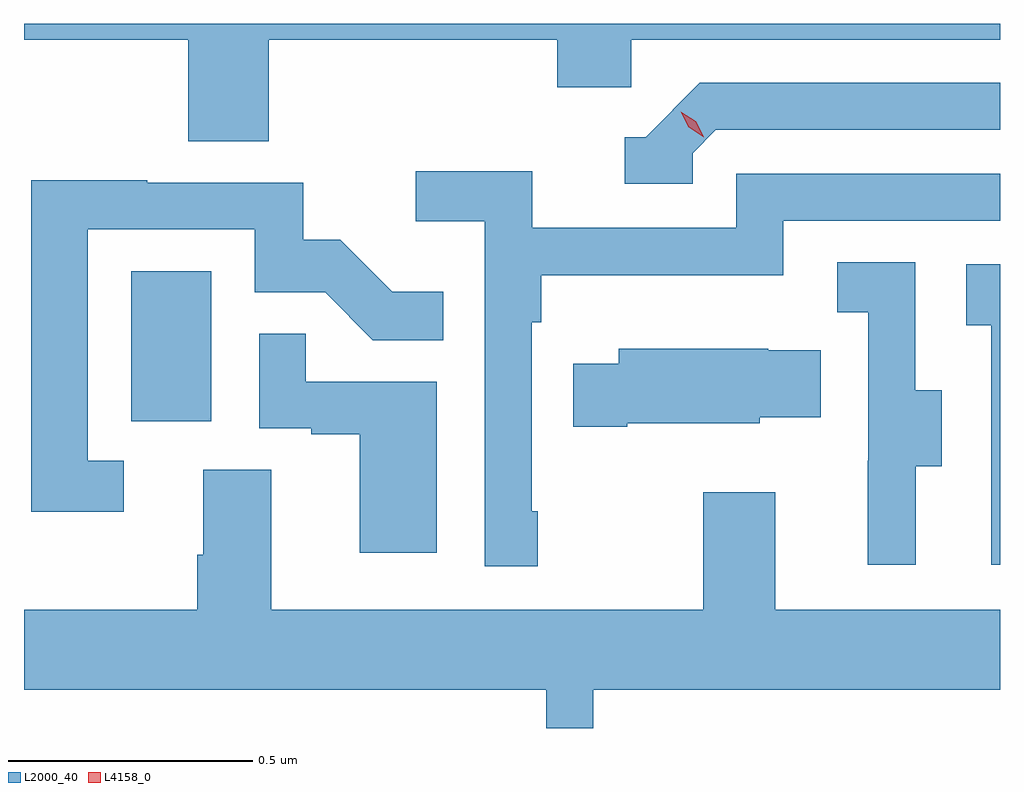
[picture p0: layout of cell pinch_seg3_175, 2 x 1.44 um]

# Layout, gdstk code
import gdstk
lib = gdstk.Library(unit=1e-6, precision=1e-09)
def R(c, l, rs):  # rectangles x0, y0, x1, y1
    for r in rs: c.add(gdstk.rectangle(r[:2], r[2:], *l))
def P(c, l, *ps):  # polygons
    for p in ps: c.add(gdstk.Polygon(p, *l))
L2000_40 = (2000, 40)
L4158_0 = (4158, 0)

pinch_seg3_175 = lib.new_cell('pinch_seg3_175')
R(pinch_seg3_175, L2000_40, [(984.278,748.086,984.442,748.393)])
P(pinch_seg3_175, L2000_40, [(984.56,748.868),(985.151,748.868),(985.151,748.77),(985.302,748.77),(985.302,748.868),(986.058,748.868),(986.058,748.9),(984.058,748.9),(984.058,748.868),(984.395,748.868),(984.395,748.66),(984.56,748.66)],
  [(985.428,748.635),(985.476,748.683),(986.058,748.683),(986.058,748.779),(985.443,748.779),(985.332,748.668),(985.289,748.668),(985.289,748.572),(985.428,748.572)],
  [(985.111,747.901),(985.098,747.901),(985.098,748.289),(985.118,748.289),(985.118,748.385),(985.614,748.385),(985.614,748.497),(986.058,748.497),(986.058,748.593),(985.518,748.593),(985.518,748.482),(985.1,748.482),(985.1,748.598),(984.861,748.598),(984.861,748.496),(985.002,748.496),(985.002,747.789),(985.111,747.789)],
  [(984.262,748.005),(984.189,748.005),(984.189,748.479),(984.531,748.479),(984.531,748.35),(984.675,748.35),(984.773,748.252),(984.917,748.252),(984.917,748.351),(984.813,748.351),(984.706,748.458),(984.63,748.458),(984.63,748.575),(984.311,748.575),(984.311,748.58),(984.073,748.58),(984.073,747.9),(984.262,747.9)],
  [(985.885,747.994),(985.939,747.994),(985.939,748.149),(985.884,748.149),(985.884,748.412),(985.725,748.412),(985.725,748.309),(985.788,748.309),(985.788,748.005),(985.787,748.005),(985.787,747.792),(985.885,747.792)],
  [(986.058,748.407),(985.989,748.407),(985.989,748.283),(986.04,748.283),(986.04,747.792),(986.058,747.792)],
  [(984.904,748.167),(984.635,748.167),(984.635,748.265),(984.54,748.265),(984.54,748.071),(984.647,748.071),(984.647,748.059),(984.746,748.059),(984.746,747.816),(984.904,747.816)],
  [(985.294,748.082),(985.566,748.082),(985.566,748.094),(985.691,748.094),(985.691,748.231),(985.583,748.231),(985.583,748.234),(985.277,748.234),(985.277,748.204),(985.183,748.204),(985.183,748.075),(985.294,748.075)],
  [(985.128,747.457),(985.224,747.457),(985.224,747.536),(986.058,747.536),(986.058,747.7),(985.597,747.7),(985.597,747.94),(985.45,747.94),(985.45,747.7),(984.565,747.7),(984.565,747.986),(984.425,747.986),(984.425,747.812),(984.413,747.812),(984.413,747.7),(984.058,747.7),(984.058,747.536),(985.128,747.536)])
P(pinch_seg3_175, L4158_0, [(985.451,748.668),(985.42,748.688),(985.404,748.72),(985.404,748.72),(985.404,748.72),(985.435,748.701),(985.451,748.669),(985.451,748.668)])

lib.write_gds('pinch_seg3_175.gds')
